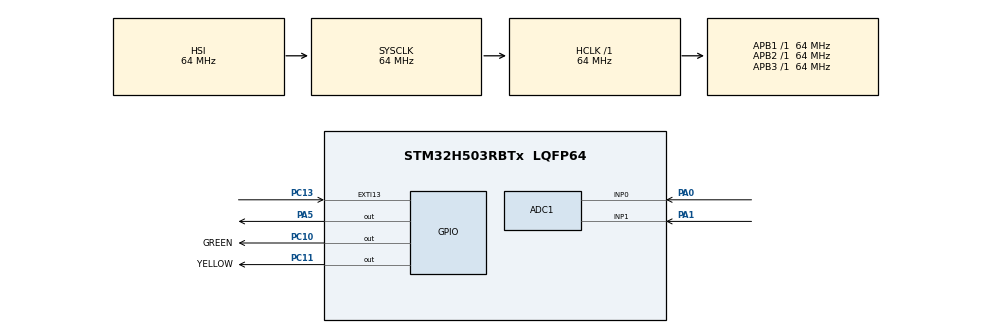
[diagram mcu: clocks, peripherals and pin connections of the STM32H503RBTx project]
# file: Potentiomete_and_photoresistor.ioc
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ADC1.Channel-0\#ChannelRegularConversion=ADC_CHANNEL_0
ADC1.EOCSelection=ADC_EOC_SINGLE_CONV
ADC1.MonitoredBy-0\#ChannelRegularConversion=__NULL
ADC1.NbrOfConversion=1
ADC1.NbrOfConversionFlag=1
ADC1.OffsetNumber-0\#ChannelRegularConversion=ADC_OFFSET_NONE
ADC1.Rank-0\#ChannelRegularConversion=1
ADC1.SamplingTime-0\#ChannelRegularConversion=ADC_SAMPLETIME_2CYCLES_5
ADC1.master=1
BOOTPATH.BootPathName=LEGACY
BOOTPATH.UserSelectedBootPath=LEGACY
Mcu.Family=STM32H5
Mcu.Name=STM32H503RBTx
Mcu.Package=LQFP64
NUCLEO-H503RB.BUTTON=1
NUCLEO-H503RB.LD2=true
NUCLEO-H503RB.VCP=true
NVIC.EXTI13_IRQn=true\:0\:0\:false\:false\:true\:false\:true\:true
NVIC.PriorityGroup=NVIC_PRIORITYGROUP_4
PA0.Signal=ADCx_INP0
PA1.Signal=ADCx_INP1
PA3.Signal=USART3_RX
PA4.Signal=USART3_TX
PA5.Signal=GPIO_Output
PC10.GPIO_Label=GREEN
PC10.Signal=GPIO_Output
PC11.GPIO_Label=YELLOW
PC11.Signal=GPIO_Output
PC13.Signal=GPXTI13
ProjectManager.HeapSize=0x200
ProjectManager.StackSize=0x400
ProjectManager.TargetToolchain=STM32CubeIDE
RCC.ADCFreq_Value=64000000
RCC.AHBFreq_Value=64000000
RCC.APB1Freq_Value=64000000
RCC.APB1TimFreq_Value=64000000
RCC.APB2Freq_Value=64000000
RCC.APB2TimFreq_Value=64000000
RCC.APB3Freq_Value=64000000
RCC.CSI_VALUE=4000000
RCC.CortexFreq_Value=64000000
RCC.EPOD_VALUE=4000000
RCC.HCLKFreq_Value=64000000
RCC.HSE_VALUE=24000000
RCC.HSI48_VALUE=48000000
RCC.HSIDiv=RCC_HSI_DIV1
RCC.HSI_VALUE=64000000
RCC.LSE_VALUE=32768
RCC.LSIRC_VALUE=32000
RCC.PLLN=32
RCC.SYSCLKFreq_VALUE=64000000
RCC.USBFreq_Value=48000000
RCC.VCOOutputFreq_Value=128000000
SH.ADCx_INP0.0=ADC1_INP0,IN0-Single-Ended
SH.ADCx_INP1.0=ADC1_INP1,IN1-Single-Ended
VP_BOOTPATH_VS_BOOTPATH.Mode=BP_Activate
VP_CORTEX_M33_NS_VS_Hclk.Mode=Hclk_Mode
VP_MEMORYMAP_VS_MEMORYMAP.Mode=CurAppReg
VP_NUCLEO-H503RB_VS_BSP_COMMON.Mode=COMMON
VP_PWR_VS_DBSignals.Mode=DisableDeadBatterySignals
VP_PWR_VS_LPOM.Mode=PowerOptimisation
VP_PWR_VS_SECSignals.Mode=Security/Privilege
board=NUCLEO-H503RB

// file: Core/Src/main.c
/* USER CODE BEGIN Header */
/**
  ******************************************************************************
  * @file           : main.c
  * @brief          : Main program body
  ******************************************************************************
  * @attention
  *
  * Copyright (c) 2026 STMicroelectronics.
  * All rights reserved.
  *
  * This software is licensed under terms that can be found in the LICENSE file
  * in the root directory of this software component.
  * If no LICENSE file comes with this software, it is provided AS-IS.
  *
  ******************************************************************************
  */
/* USER CODE END Header */
#include "main.h"

/* USER CODE BEGIN Includes */
#include "stdio.h"
/* USER CODE END Includes */

COM_InitTypeDef BspCOMInit;
ADC_HandleTypeDef hadc1;

/* USER CODE BEGIN PV */
uint16_t lux = 0;
uint8_t state = 0;
uint16_t pot = 0;
uint32_t yellow_tick = 0;
uint32_t green_tick = 0;
uint32_t yellow_int = 0;
uint32_t green_int = 0;
/* USER CODE END PV */

void SystemClock_Config(void);
static void MX_GPIO_Init(void);
static void MX_ADC1_Init(void);

int main(void)
{

  /* MCU Configuration--------------------------------------------------------*/

  /* Reset of all peripherals, Initializes the Flash interface and the Systick. */
  HAL_Init();

  /* Configure the system clock */
  SystemClock_Config();

  /* Initialize all configured peripherals */
  MX_GPIO_Init();
  MX_ADC1_Init();
  /* USER CODE BEGIN 2 */

  /* Initialize ADC Channel */
  ADC_ChannelConfTypeDef sConfig = {0};
  sConfig.Rank         = ADC_REGULAR_RANK_1;
  sConfig.SamplingTime = ADC_SAMPLETIME_2CYCLES_5;
  sConfig.SingleDiff   = ADC_SINGLE_ENDED;
  sConfig.OffsetNumber = ADC_OFFSET_NONE;
  sConfig.Offset       = 0;
  /* USER CODE END 2 */

  /* Initialize led */
  BSP_LED_Init(LED_GREEN);

  /* Initialize USER push-button, will be used to trigger an interrupt each time it's pressed.*/
  BSP_PB_Init(BUTTON_USER, BUTTON_MODE_EXTI);

  /* Initialize COM1 port (115200, 8 bits (7-bit data + 1 stop bit), no parity */
  BspCOMInit.BaudRate   = 115200;
  BspCOMInit.WordLength = COM_WORDLENGTH_8B;
  BspCOMInit.StopBits   = COM_STOPBITS_1;
  BspCOMInit.Parity     = COM_PARITY_NONE;
  BspCOMInit.HwFlowCtl  = COM_HWCONTROL_NONE;
  if (BSP_COM_Init(COM1, &BspCOMInit) != BSP_ERROR_NONE)
  {
    Error_Handler();
  }

  /* Infinite loop */
  /* USER CODE BEGIN WHILE */

  while (1)
  {

	   // HAL_GPIO_WritePin(GPIOC, YELLOW_Pin, GPIO_PIN_SET);

	    // Read potentiometer (PA0)
	    sConfig.Channel = ADC_CHANNEL_0;
	    HAL_ADC_ConfigChannel(&hadc1, &sConfig);
	    HAL_ADC_Start(&hadc1);
	    HAL_ADC_PollForConversion(&hadc1, HAL_MAX_DELAY);
	    pot = HAL_ADC_GetValue(&hadc1);
	    HAL_ADC_Stop(&hadc1);

	    // Read photoresistor (PA1)
	    sConfig.Channel = ADC_CHANNEL_1;
	    HAL_ADC_ConfigChannel(&hadc1, &sConfig);
	    HAL_ADC_Start(&hadc1);
	    HAL_ADC_PollForConversion(&hadc1, HAL_MAX_DELAY);
	    lux = HAL_ADC_GetValue(&hadc1);
	    HAL_ADC_Stop(&hadc1);

	   // HAL_GPIO_WritePin(GPIOC, GREEN_Pin|YELLOW_Pin, GPIO_PIN_SET);
		   /* photoresistor logic*/
		if (lux < 1000)
	    {
		   yellow_int = 100;
	    }
	   else
	    {
		   yellow_int = 1000;
	    }
		if (HAL_GetTick() - yellow_tick >= yellow_int)  //HAL_GetTick() is the number of milliseconds since startup.
		{
			yellow_tick = HAL_GetTick();
			HAL_GPIO_TogglePin(GPIOC, YELLOW_Pin);
		}
//	    Potentiometer Logic - this is what i used for submission
//	   if (pot <= 1365)
//	    {
//		   green_int = 100;
//	    }
//	   else if (pot > 1365 && pot <= 2730)
//	    {
//		   green_int = 500;
//	    }
//	   else if (pot > 2730)
//	    {
//		   green_int = 1000;
//	    }
//	   if (HAL_GetTick() - green_tick >= green_int)
//	    {
//		   green_tick = HAL_GetTick();
//		   HAL_GPIO_TogglePin(GPIOC, GREEN_Pin);
//	    }
//--------------------------------------------------------------
//  	Attempt to have interval directly tied to potentiometer value
		green_int = pot*900/4065 + 100; // normalizes the 12 bit number to a scale from 100 to 1000

	   if (HAL_GetTick() - green_tick >= green_int)
	    {
		   green_tick = HAL_GetTick();
		   HAL_GPIO_TogglePin(GPIOC, GREEN_Pin);
	    }
//--------------------------------------------------------------
	   // ATTEMPT WITH HAL_Delay
//	    /* photoresistor logic*/
//	    if (lux < 2000)
//	   {
//		   HAL_GPIO_WritePin(GPIOC, YELLOW_Pin, GPIO_PIN_SET);
//	   	   HAL_Delay(125);
//		   HAL_GPIO_WritePin(GPIOC, YELLOW_Pin, GPIO_PIN_RESET);
//		   HAL_Delay(125);
//	   }
//	   else if (lux >= 2000)
//	   {
//		   HAL_GPIO_WritePin(GPIOC, YELLOW_Pin, GPIO_PIN_SET);
//	   	   HAL_Delay(300);
//		   HAL_GPIO_WritePin(GPIOC, YELLOW_Pin, GPIO_PIN_RESET);
//		   HAL_Delay(300);
//	   }
//	   // Potentiometer Logic
//	   if (pot <= 1365)
//	   {
//		   HAL_GPIO_WritePin(GPIOC, GREEN_Pin, GPIO_PIN_SET);
//	       HAL_Delay(250);
//	       HAL_GPIO_WritePin(GPIOC, GREEN_Pin, GPIO_PIN_RESET);
//	       HAL_Delay(250);
//	   }
//	   else if (pot > 1365 && pot <= 2730)
//	   {
//		   HAL_GPIO_WritePin(GPIOC, GREEN_Pin, GPIO_PIN_SET);
//		   HAL_Delay(125);
//		   HAL_GPIO_WritePin(GPIOC, GREEN_Pin, GPIO_PIN_RESET);
//		   HAL_Delay(125);
//	   }
//	   else if (pot > 2730)
//	   {
//		   HAL_GPIO_WritePin(GPIOC, GREEN_Pin, GPIO_PIN_SET);
//		   HAL_Delay(50);
//		   HAL_GPIO_WritePin(GPIOC, GREEN_Pin, GPIO_PIN_RESET);
//		   HAL_Delay(50);
//	   }

	    HAL_Delay(50);
    /* USER CODE END WHILE */

  }
}

void SystemClock_Config(void)
{
  RCC_OscInitTypeDef RCC_OscInitStruct = {0};
  RCC_ClkInitTypeDef RCC_ClkInitStruct = {0};

  /** Configure the main internal regulator output voltage
  */
  __HAL_PWR_VOLTAGESCALING_CONFIG(PWR_REGULATOR_VOLTAGE_SCALE3);

  while(!__HAL_PWR_GET_FLAG(PWR_FLAG_VOSRDY)) {}

  /** Initializes the RCC Oscillators according to the specified parameters
  * in the RCC_OscInitTypeDef structure.
  */
  RCC_OscInitStruct.OscillatorType = RCC_OSCILLATORTYPE_HSI;
  RCC_OscInitStruct.HSIState = RCC_HSI_ON;
  RCC_OscInitStruct.HSIDiv = RCC_HSI_DIV1;
  RCC_OscInitStruct.HSICalibrationValue = RCC_HSICALIBRATION_DEFAULT;
  RCC_OscInitStruct.PLL.PLLState = RCC_PLL_NONE;
  if (HAL_RCC_OscConfig(&RCC_OscInitStruct) != HAL_OK)
  {
    Error_Handler();
  }

  /** Initializes the CPU, AHB and APB buses clocks
  */
  RCC_ClkInitStruct.ClockType = RCC_CLOCKTYPE_HCLK|RCC_CLOCKTYPE_SYSCLK
                              |RCC_CLOCKTYPE_PCLK1|RCC_CLOCKTYPE_PCLK2
                              |RCC_CLOCKTYPE_PCLK3;
  RCC_ClkInitStruct.SYSCLKSource = RCC_SYSCLKSOURCE_HSI;
  RCC_ClkInitStruct.AHBCLKDivider = RCC_SYSCLK_DIV1;
  RCC_ClkInitStruct.APB1CLKDivider = RCC_HCLK_DIV1;
  RCC_ClkInitStruct.APB2CLKDivider = RCC_HCLK_DIV1;
  RCC_ClkInitStruct.APB3CLKDivider = RCC_HCLK_DIV1;

  if (HAL_RCC_ClockConfig(&RCC_ClkInitStruct, FLASH_LATENCY_3) != HAL_OK)
  {
    Error_Handler();
  }

  /** Configure the programming delay
  */
  __HAL_FLASH_SET_PROGRAM_DELAY(FLASH_PROGRAMMING_DELAY_1);
}

static void MX_ADC1_Init(void)
{

  ADC_ChannelConfTypeDef sConfig = {0};

  /** Common config
  */
  hadc1.Instance = ADC1;
  hadc1.Init.ClockPrescaler = ADC_CLOCK_ASYNC_DIV2;
  hadc1.Init.Resolution = ADC_RESOLUTION_12B;
  hadc1.Init.DataAlign = ADC_DATAALIGN_RIGHT;
  hadc1.Init.ScanConvMode = ADC_SCAN_DISABLE;
  hadc1.Init.EOCSelection = ADC_EOC_SINGLE_CONV;
  hadc1.Init.LowPowerAutoWait = DISABLE;
  hadc1.Init.ContinuousConvMode = DISABLE;
  hadc1.Init.NbrOfConversion = 1;
  hadc1.Init.DiscontinuousConvMode = DISABLE;
  hadc1.Init.ExternalTrigConv = ADC_SOFTWARE_START;
  hadc1.Init.ExternalTrigConvEdge = ADC_EXTERNALTRIGCONVEDGE_NONE;
  hadc1.Init.DMAContinuousRequests = DISABLE;
  hadc1.Init.SamplingMode = ADC_SAMPLING_MODE_NORMAL;
  hadc1.Init.Overrun = ADC_OVR_DATA_PRESERVED;
  hadc1.Init.OversamplingMode = DISABLE;
  if (HAL_ADC_Init(&hadc1) != HAL_OK)
  {
    Error_Handler();
  }

  /** Configure Regular Channel
  */
  sConfig.Channel = ADC_CHANNEL_0;
  sConfig.Rank = ADC_REGULAR_RANK_1;
  sConfig.SamplingTime = ADC_SAMPLETIME_2CYCLES_5;
  sConfig.SingleDiff = ADC_SINGLE_ENDED;
  sConfig.OffsetNumber = ADC_OFFSET_NONE;
  sConfig.Offset = 0;
  if (HAL_ADC_ConfigChannel(&hadc1, &sConfig) != HAL_OK)
  {
    Error_Handler();
  }

}

static void MX_GPIO_Init(void)
{
  GPIO_InitTypeDef GPIO_InitStruct = {0};

  /* GPIO Ports Clock Enable */
  __HAL_RCC_GPIOA_CLK_ENABLE();
  __HAL_RCC_GPIOC_CLK_ENABLE();

  /*Configure GPIO pin Output Level */
  HAL_GPIO_WritePin(GPIOC, GREEN_Pin|YELLOW_Pin, GPIO_PIN_RESET);

  /*Configure GPIO pins : GREEN_Pin YELLOW_Pin */
  GPIO_InitStruct.Pin = GREEN_Pin|YELLOW_Pin;
  GPIO_InitStruct.Mode = GPIO_MODE_OUTPUT_PP;
  GPIO_InitStruct.Pull = GPIO_NOPULL;
  GPIO_InitStruct.Speed = GPIO_SPEED_FREQ_LOW;
  HAL_GPIO_Init(GPIOC, &GPIO_InitStruct);

}

void Error_Handler(void)
{
  __disable_irq();
  while (1)
  {
  }
}
